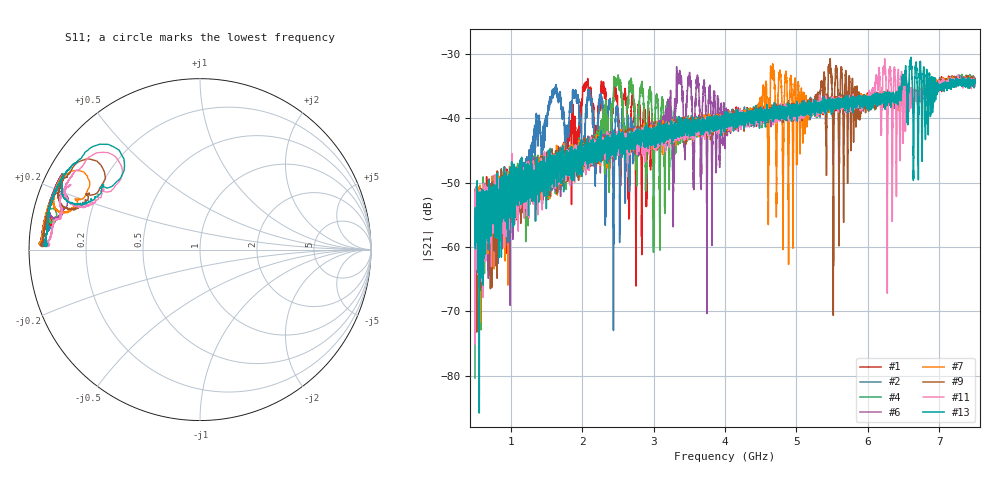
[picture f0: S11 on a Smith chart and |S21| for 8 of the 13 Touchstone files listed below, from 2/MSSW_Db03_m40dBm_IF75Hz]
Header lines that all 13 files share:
!Keysight Technologies,M9374A,MY55442783,A.12.55.05
!Correction: S11(Full 2 Port(1,2))
!S21(Full 2 Port(1,2))
!S12(Full 2 Port(1,2))
!S22(Full 2 Port(1,2))
!S2P File: Measurements: S11, S21, S12, S22:
# Hz S  RI  R 50
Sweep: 500 MHz to 7.5 GHz
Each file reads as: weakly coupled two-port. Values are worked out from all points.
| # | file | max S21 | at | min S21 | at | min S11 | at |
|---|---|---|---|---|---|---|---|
| 1 | MSSW_Db03_0.5.s2p | -33.44 dB | 7.179 GHz | -66.1 dB | 2.756 GHz | -1.1 dB | 2.203 GHz |
| 2 | MSSW_Db03_0.s2p | -33.29 dB | 7.275 GHz | -73.0 dB | 2.438 GHz | -1.0 dB | 2.138 GHz |
| 3 | MSSW_Db03_1.5.s2p | -32.75 dB | 2.885 GHz | -73.4 dB | 512 MHz | -1.5 dB | 2.792 GHz |
| 4 | MSSW_Db03_1.s2p | -33.22 dB | 7.316 GHz | -80.3 dB | 500 MHz | -1.3 dB | 2.338 GHz |
| 5 | MSSW_Db03_2.5.s2p | -31.72 dB | 3.769 GHz | -71.7 dB | 599 MHz | -2.0 dB | 3.695 GHz |
| 6 | MSSW_Db03_2.s2p | -32.01 dB | 3.323 GHz | -70.3 dB | 3.75 GHz | -1.7 dB | 3.24 GHz |
| 7 | MSSW_Db03_3.5.s2p | -31.56 dB | 4.668 GHz | -71.8 dB | 575 MHz | -2.6 dB | 4.581 GHz |
| 8 | MSSW_Db03_3.s2p | -31.67 dB | 4.242 GHz | -71.0 dB | 4.551 GHz | -2.3 dB | 4.144 GHz |
| 9 | MSSW_Db03_4.5.s2p | -30.77 dB | 5.473 GHz | -73.2 dB | 525 MHz | -3.3 dB | 5.397 GHz |
| 10 | MSSW_Db03_4.s2p | -31.33 dB | 5.077 GHz | -78.3 dB | 5.282 GHz | -2.9 dB | 4.997 GHz |
| 11 | MSSW_Db03_5.5.s2p | -30.78 dB | 6.236 GHz | -75.1 dB | 503 MHz | -4.2 dB | 6.162 GHz |
| 12 | MSSW_Db03_5.s2p | -30.80 dB | 5.858 GHz | -70.5 dB | 507 MHz | -3.7 dB | 5.78 GHz |
| 13 | MSSW_Db03_6.s2p | -30.56 dB | 6.604 GHz | -85.8 dB | 560 MHz | -4.1 dB | 6.534 GHz |
